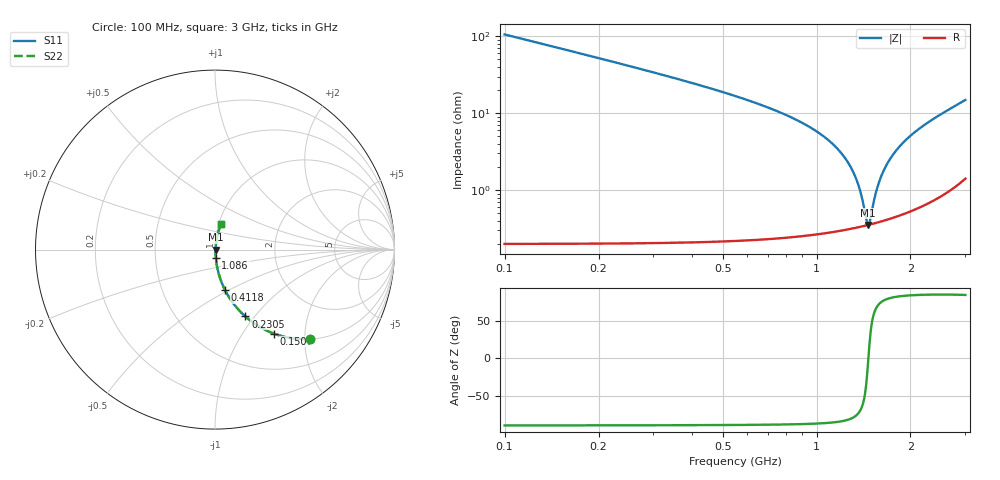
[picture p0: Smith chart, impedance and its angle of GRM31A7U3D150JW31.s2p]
!Murata Part Number: GRM31A7U3D150JW31
!These Parameters are Measured in Series Mode Connection
!Data Generated on Mar 30, 2021
!  o--ll--o
!Port1  Port2
!  o------o
!Operation Temp=25[degC], DC Bias Voltage=0[V]
!Freq. Start=100[MHz] Stop=3[GHz] 401[Steps]
# Hz S RI R 50
!Freq.(Hz) S11(Real) S11(Imag) S21(Real) S21(Imag) S12(Real) S12(Imag) S22(Real) S22(Imag)
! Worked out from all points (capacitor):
!   401 points, 100 MHz to 3 GHz, reference 50 ohm
!   read as one part in series: C = 15 pF near 114.5 MHz
!   lowest |Z| = 355 mohm at 1.463 GHz (marker M1)
!   series resonance near 1.466 GHz, so ESL is about 790 pH
!   S11 on the Smith chart (normalised r, x): 100 MHz: 1.00, -2.11; 150.8 MHz: 1.00, -1.39; 230.5 MHz: 1.00, -0.90; 411.8 MHz: 1.00, -0.48; 1.086 GHz: 1.01, -0.09; 3 GHz: 1.03, +0.30
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1e8  0.5273 -0.4983  0.4727 0.4983  0.4727 0.4983  0.5273 -0.4983
1.5075e8  0.3273 -0.4678  0.6727 0.4678  0.6727 0.4678  0.3273 -0.4678
2.305e8  0.1692 -0.3727  0.8308 0.3727  0.8308 0.3727  0.1692 -0.3727
3.1025e8  0.0983 -0.2946  0.9017 0.2946  0.9017 0.2946  0.0983 -0.2946
4.1175e8  0.0555 -0.2246  0.9445 0.2246  0.9445 0.2246  0.0555 -0.2246
5.8575e8  0.0251 -0.1493  0.9749 0.1493  0.9749 0.1493  0.0251 -0.1493
8.975e8  0.00812 -0.0746  0.9919 0.0746  0.9919 0.0746  0.00812 -0.0746
1.0715e9  0.00498 -0.0471  0.995 0.0471  0.995 0.0471  0.00498 -0.0471
1.086e9  0.00482 -0.045  0.9952 0.045  0.9952 0.045  0.00482 -0.045
1.2165e9  0.00379 -0.028  0.9962 0.028  0.9962 0.028  0.00379 -0.028
1.31075e9  0.00347 -0.0168  0.9965 0.0168  0.9965 0.0168  0.00347 -0.0168
1.376e9  0.00341 -0.00956  0.9966 0.00956  0.9966 0.00956  0.00341 -0.00956
1.44125e9  0.00347 -0.00259  0.9965 0.00259  0.9965 0.00259  0.00347 -0.00259
1.463e9  0.00352 -0.000319  0.9965 0.000319  0.9965 0.000319  0.00352 -0.000319
1.48475e9  0.00358 0.00192  0.9964 -0.00192  0.9964 -0.00192  0.00358 0.00192
1.55e9  0.00381 0.0085  0.9962 -0.0085  0.9962 -0.0085  0.00381 0.0085
1.6225e9  0.00418 0.0156  0.9958 -0.0156  0.9958 -0.0156  0.00418 0.0156
1.724e9  0.00488 0.0252  0.9951 -0.0252  0.9951 -0.0252  0.00488 0.0252
1.86175e9  0.00615 0.0378  0.9938 -0.0378  0.9938 -0.0378  0.00615 0.0378
2.03575e9  0.00828 0.0532  0.9917 -0.0532  0.9917 -0.0532  0.00828 0.0532
2.5215e9  0.0177 0.0959  0.9823 -0.0959  0.9823 -0.0959  0.0177 0.0959
3e9  0.0346 0.1411  0.9654 -0.1411  0.9654 -0.1411  0.0346 0.1411
